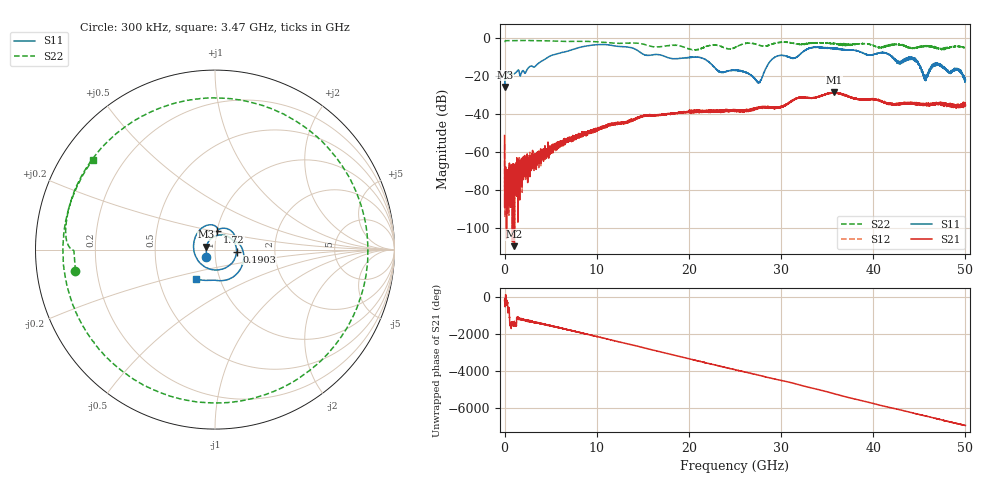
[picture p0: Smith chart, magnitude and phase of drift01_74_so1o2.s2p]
!Created with skrf (http://scikit-rf.org).
# Hz S RI R 50.0
!freq ReS11 ImS11 ReS21 ImS21 ReS12 ImS12 ReS22 ImS22
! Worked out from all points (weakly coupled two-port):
!   10001 points, 300 kHz to 50 GHz, reference 50 ohm
!   highest |S21| = -28.69 dB at 35.74 GHz (marker M1); lowest = -109.7 dB at 1.06 GHz (marker M2)
!   lowest |S11| = -25.8 dB at 5.3 MHz (marker M3), VSWR 1.11, Z = 45.3 + j1.44 ohm
!   |S11| at or under -10 dB: start of sweep to 4.766 GHz; 17.52 GHz to 29.37 GHz (11.85 GHz wide, 50.6 % of centre); 42.05 GHz to end of sweep (the widest 3 of 9)
!   |S22| runs from -6.4 to -1.3 dB; largest |S21 - S12| = 0.0042
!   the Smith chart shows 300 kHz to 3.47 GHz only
!   S11 on the Smith chart (normalised r, x): 300 kHz: 0.91, -0.07; 190.3 MHz: 1.27, -0.03; 1.72 GHz: 1.00, +0.20; 3.47 GHz: 0.77, -0.26
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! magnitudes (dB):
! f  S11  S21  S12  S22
! 300 kHz  -24.2  -51.4  -56.2  -2.1
! 5.3 MHz  -25.8  -89.3  -80.1  -2.1
! 190.3 MHz  -18.3  -82.6  -83.7  -1.4
! 255.3 MHz  -18.3  -73.6  -75.9  -1.4
! 1.06 GHz  -18.8  -109.7  -72.1  -1.5
! 1.72 GHz  -19.9  -64.9  -65.3  -1.4
! 3.47 GHz  -14.3  -63.5  -64.4  -1.5
! 8.335 GHz  -4.8  -51.5  -51.8  -1.8
! 16.67 GHz  -8.8  -40.4  -40.7  -4.8
! 21.2 GHz  -10.3  -39.2  -39.0  -5.8
! 25 GHz  -17.0  -37.8  -38.2  -5.0
! 27.59 GHz  -23.3  -36.9  -37.1  -3.7
! 29.3 GHz  -10.3  -36.6  -36.7  -2.9
! 31.5 GHz  -10.6  -32.3  -32.3  -3.0
! 33.34 GHz  -5.1  -31.7  -31.6  -2.7
! 35.74 GHz  -5.5  -28.7  -28.9  -3.2
! 41.67 GHz  -8.6  -34.6  -34.8  -4.3
! 42.8 GHz  -12.5  -34.8  -34.9  -3.5
! 44.41 GHz  -11.5  -34.3  -34.2  -5.5
! 45.63 GHz  -21.0  -35.4  -35.4  -4.2
! 46.96 GHz  -13.3  -34.2  -34.3  -5.4
! 50 GHz  -22.0  -35.6  -35.2  -5.3
